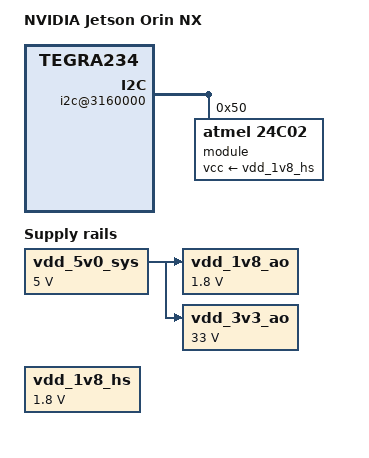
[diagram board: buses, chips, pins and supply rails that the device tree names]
// SPDX-License-Identifier: GPL-2.0

#include "tegra234.dtsi"

/ {
	model = "NVIDIA Jetson Orin NX";
	compatible = "nvidia,p3767-0000", "nvidia,tegra234";

	bus@0 {
		i2c@3160000 {
			status = "okay";

			eeprom@50 {
				compatible = "atmel,24c02";
				reg = <0x50>;

				label = "module";
				vcc-supply = <&vdd_1v8_hs>;
				address-width = <8>;
				pagesize = <8>;
				size = <256>;
				read-only;
			};
		};

		padctl@3520000 {
			vclamp-usb-supply = <&vdd_1v8_ao>;
			avdd-usb-supply = <&vdd_3v3_ao>;
		};

		rtc@c2a0000 {
			status = "okay";
		};

		pmc@c360000 {
			nvidia,invert-interrupt;
		};
	};

	vdd_5v0_sys: regulator-vdd-5v0-sys {
		compatible = "regulator-fixed";
		regulator-name = "VDD_5V0_SYS";
		regulator-min-microvolt = <5000000>;
		regulator-max-microvolt = <5000000>;
		regulator-always-on;
	};

	vdd_1v8_hs: regulator-vdd-1v8-hs {
		compatible = "regulator-fixed";
		regulator-name = "VDD_1V8_HS";
		regulator-min-microvolt = <1800000>;
		regulator-max-microvolt = <1800000>;
		regulator-always-on;
	};

	vdd_1v8_ao: regulator-vdd-1v8-ao {
		compatible = "regulator-fixed";
		regulator-name = "VDD_1V8_AO";
		regulator-min-microvolt = <1800000>;
		regulator-max-microvolt = <1800000>;
		regulator-always-on;
		vin-supply = <&vdd_5v0_sys>;
	};

	vdd_3v3_ao: regulator-vdd-3v3-ao {
		compatible = "regulator-fixed";
		regulator-name = "VDD_3V3_AO";
		regulator-min-microvolt = <33000000>;
		regulator-max-microvolt = <33000000>;
		regulator-always-on;
		vin-supply = <&vdd_5v0_sys>;
	};

	thermal-zones {
		cpu-thermal {
			polling-delay = <1000>;
			polling-delay-passive = <1000>;
			status = "okay";

			trips {
				critical {
					temperature = <104500>;
					hysteresis = <0>;
					type = "critical";
				};

				hot {
					temperature = <99000>;
					hysteresis = <1000>;
					type = "hot";
				};

				board_trip_passive: passive {
					temperature = <95000>;
					hysteresis = <2000>;
					type = "passive";
				};

				board_trip_active2: active-2 {
					temperature = <80000>;
					hysteresis = <4000>;
					type = "active";
				};

				board_trip_active1: active-1 {
					temperature = <65000>;
					hysteresis = <4000>;
					type = "active";
				};

				board_trip_active0: active-0 {
					temperature = <50000>;
					hysteresis = <4000>;
					type = "active";
				};
			};

			cooling-maps {
				passive {
					cooling-device = <&fan 3 3>;
					trip = <&board_trip_passive>;
				};

				active2 {
					cooling-device = <&fan 2 3>;
					trip = <&board_trip_active2>;
				};

				active1 {
					cooling-device = <&fan 1 2>;
					trip = <&board_trip_active1>;
				};

				active0 {
					cooling-device = <&fan 0 1>;
					trip = <&board_trip_active0>;
				};
			};
		};

		gpu-thermal {
			status = "okay";
		};

		cv0-thermal {
			status = "okay";
		};

		cv1-thermal {
			status = "okay";
		};

		cv2-thermal {
			status = "okay";
		};

		soc0-thermal {
			status = "okay";
		};

		soc1-thermal {
			status = "okay";
		};

		soc2-thermal {
			status = "okay";
		};

		tj-thermal {
			status = "okay";
		};
	};
};
